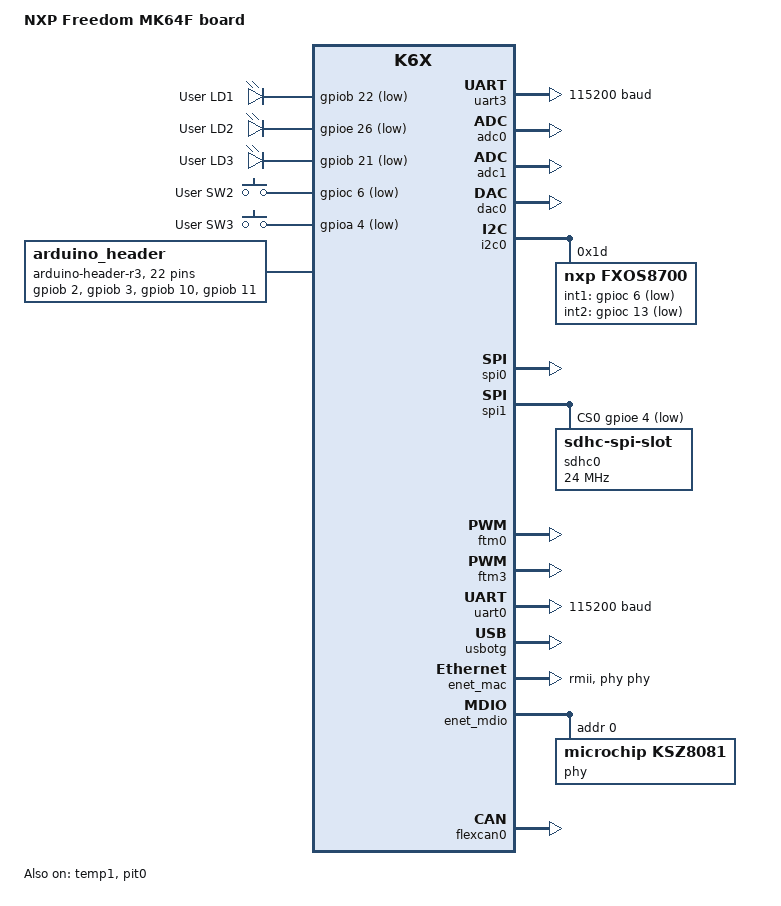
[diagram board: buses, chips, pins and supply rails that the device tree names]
/* SPDX-License-Identifier: Apache-2.0 */

/dts-v1/;

#include <nxp/nxp_k6x.dtsi>
#include "frdm_k64f-pinctrl.dtsi"
#include <zephyr/dt-bindings/gpio/arduino-header-r3.h>
#include <zephyr/dt-bindings/input/input-event-codes.h>

/ {
	model = "NXP Freedom MK64F board";
	compatible = "nxp,mk64f12", "nxp,k64f", "nxp,k6x";

	aliases {
		led0 = &green_led;
		led1 = &blue_led;
		led2 = &red_led;
		sw0 = &user_button_3;
		sw1 = &user_button_2;
		magn0 = &fxos8700;
		accel0 = &fxos8700;
		mcuboot-button0 = &user_button_2;
	};

	chosen {
		zephyr,sram = &sram0;
		zephyr,flash = &flash0;
		zephyr,code-partition = &slot0_partition;
		zephyr,console = &uart0;
		zephyr,shell-uart = &uart0;
		zephyr,uart-pipe = &uart0;
		zephyr,canbus = &flexcan0;
		zephyr,uart-mcumgr = &uart0;
	};

	leds {
		compatible = "gpio-leds";
		red_led: led_0 {
			gpios = <&gpiob 22 GPIO_ACTIVE_LOW>;
			label = "User LD1";
		};
		green_led: led_1 {
			gpios = <&gpioe 26 GPIO_ACTIVE_LOW>;
			label = "User LD2";
		};
		blue_led: led_2 {
			gpios = <&gpiob 21 GPIO_ACTIVE_LOW>;
			label = "User LD3";
		};
	};

	gpio_keys {
		compatible = "gpio-keys";
		user_button_2: button_0 {
			label = "User SW2";
			gpios = <&gpioc 6 GPIO_ACTIVE_LOW>;
			zephyr,code = <INPUT_KEY_0>;
		};
		user_button_3: button_1 {
			label = "User SW3";
			gpios = <&gpioa 4 GPIO_ACTIVE_LOW>;
			zephyr,code = <INPUT_KEY_1>;
		};
	};

	arduino_header: connector {
		compatible = "arduino-header-r3";
		#gpio-cells = <2>;
		gpio-map-mask = <0xffffffff 0xffffffc0>;
		gpio-map-pass-thru = <0 0x3f>;
		gpio-map = <ARDUINO_HEADER_R3_A0 0 &gpiob 2 0>,
			   <ARDUINO_HEADER_R3_A1 0 &gpiob 3 0>,
			   <ARDUINO_HEADER_R3_A2 0 &gpiob 10 0>,
			   <ARDUINO_HEADER_R3_A3 0 &gpiob 11 0>,
			   <ARDUINO_HEADER_R3_A4 0 &gpioc 11 0>,
			   <ARDUINO_HEADER_R3_A5 0 &gpioc 10 0>,
			   <ARDUINO_HEADER_R3_D0 0 &gpioc 16 0>,
			   <ARDUINO_HEADER_R3_D1 0 &gpioc 17 0>,
			   <ARDUINO_HEADER_R3_D2 0 &gpiob 9 0>,
			   <ARDUINO_HEADER_R3_D3 0 &gpioa 1 0>,
			   <ARDUINO_HEADER_R3_D4 0 &gpiob 23 0>,
			   <ARDUINO_HEADER_R3_D5 0 &gpioa 2 0>,
			   <ARDUINO_HEADER_R3_D6 0 &gpioc 2 0>,
			   <ARDUINO_HEADER_R3_D7 0 &gpioc 3 0>,
			   /* NOTE: HW Rev D and below use: */
			   /* <ARDUINO_HEADER_R3_D8 0 &gpioa 0 0>, */
			   /* NOTE: HW Rev E and on use: */
			   <ARDUINO_HEADER_R3_D8 0 &gpioc 12 0>,
			   <ARDUINO_HEADER_R3_D9 0 &gpioc 4 0>,
			   <ARDUINO_HEADER_R3_D10 0 &gpiod 0 0>,
			   <ARDUINO_HEADER_R3_D11 0 &gpiod 2 0>,
			   <ARDUINO_HEADER_R3_D12 0 &gpiod 3 0>,
			   <ARDUINO_HEADER_R3_D13 0 &gpiod 1 0>,
			   <ARDUINO_HEADER_R3_D14 0 &gpioe 25 0>,
			   <ARDUINO_HEADER_R3_D15 0 &gpioe 24 0>;
	};
};

&sim {
	pllfll-select = <KINETIS_SIM_PLLFLLSEL_MCGPLLCLK>;
	er32k-select = <KINETIS_SIM_ER32KSEL_RTC>;
};

arduino_serial: &uart3 {
	status = "okay";
	current-speed = <115200>;
	pinctrl-0 = <&uart3_default>;
	pinctrl-names = "default";
};

&cpu0 {
	clock-frequency = <120000000>;
};

&adc0 {
	status = "okay";
	pinctrl-0 = <&adc0_default>;
	pinctrl-names = "default";
};

&adc1 {
	status = "okay";
	pinctrl-0 = <&adc1_default>;
	pinctrl-names = "default";
};

&temp1 {
	status = "okay";
};

&dac0 {
	status = "okay";
	voltage-reference = <2>;
};

arduino_i2c: &i2c0 {
	status = "okay";
	pinctrl-0 = <&i2c0_default>;
	pinctrl-names = "default";

	fxos8700: fxos8700@1d {
		compatible = "nxp,fxos8700";
		reg = <0x1d>;
		int1-gpios = <&gpioc 6 GPIO_ACTIVE_LOW>;
		int2-gpios = <&gpioc 13 GPIO_ACTIVE_LOW>;
	};
};

arduino_spi: &spi0 {
	status = "okay";
	pinctrl-0 = <&spi0_default>;
	pinctrl-names = "default";
};

&spi1 {
	status = "okay";
	pinctrl-0 = <&spi1_default>;
	pinctrl-names = "default";
	cs-gpios = <&gpioe 4 GPIO_ACTIVE_LOW>;

	sdhc0: sdhc@0 {
		compatible = "zephyr,sdhc-spi-slot";
		reg = <0>;
		status = "okay";
		sdmmc {
			compatible = "zephyr,sdmmc-disk";
			disk-name = "SD";
			status = "okay";
		};
		spi-max-frequency = <24000000>;
	};
};

&ftm0 {
	status = "okay";
	compatible = "nxp,ftm-pwm";
	#pwm-cells = <3>;
	pinctrl-0 = <&ftm0_default>;
	pinctrl-names = "default";
	clock-source = "fixed";
};

&ftm3 {
	status = "okay";
	compatible = "nxp,ftm-pwm";
	#pwm-cells = <3>;
	pinctrl-0 = <&ftm3_default>;
	pinctrl-names = "default";
	clock-source = "fixed";
};

&uart0 {
	status = "okay";
	current-speed = <115200>;
	pinctrl-0 = <&uart0_default>;
	pinctrl-names = "default";
};

&uart2 {
	pinctrl-0 = <&uart2_default>;
	pinctrl-names = "default";
};

zephyr_udc0: &usbotg {
	compatible = "nxp,kinetis-usbd";
	status = "okay";
	num-bidir-endpoints = <8>;
};

&gpioa {
	status = "okay";
};

&gpiob {
	status = "okay";
};

&gpioc {
	status = "okay";
};

&gpiod {
	status = "okay";
};

&gpioe {
	status = "okay";
};

&flash0 {

	partitions {
		compatible = "fixed-partitions";
		#address-cells = <1>;
		#size-cells = <1>;

		/*
		 * Partition sizes must be aligned
		 * to the flash memory sector size of 4KB.
		 */
		boot_partition: partition@0 {
			label = "mcuboot";
			reg = <0x00000000 DT_SIZE_K(64)>;
			read-only;
		};
		slot0_partition: partition@10000 {
			label = "image-0";
			reg = <0x00010000 DT_SIZE_K(420)>;
		};
		slot1_partition: partition@79000 {
			label = "image-1";
			reg = <0x00079000 DT_SIZE_K(420)>;
		};
		storage_partition: partition@e2000 {
			label = "storage";
			reg = <0x000e2000 DT_SIZE_K(120)>;
		};
	};
};

&enet_mac {
	status = "okay";
	pinctrl-0 = <&pinmux_enet>;
	pinctrl-names = "default";
	phy-handle = <&phy>;
	zephyr,random-mac-address;
	phy-connection-type = "rmii";
};


&enet_mdio {
	status = "okay";
	pinctrl-0 = <&pinmux_enet_mdio>;
	pinctrl-names = "default";
	phy: phy@0 {
		compatible = "microchip,ksz8081";
		reg = <0>;
		status = "okay";
		microchip,interface-type = "rmii-25MHz";
	};
};

&enet_ptp_clock {
	status = "okay";
	pinctrl-0 = <&pinmux_ptp>;
	pinctrl-names = "default";
};

&flexcan0 {
	status = "okay";
	pinctrl-0 = <&flexcan0_default>;
	pinctrl-names = "default";
};

&edma0 {
	status = "okay";
};

&pit0 {
	status = "okay";
};
